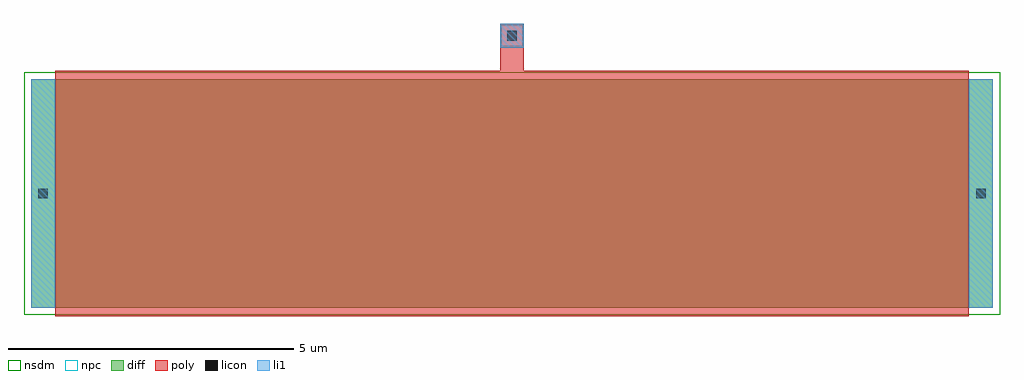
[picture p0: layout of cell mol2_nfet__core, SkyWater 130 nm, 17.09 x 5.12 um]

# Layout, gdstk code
import gdstk
lib = gdstk.Library(unit=1e-6, precision=1e-09)
def R(c, l, rs):  # rectangles x0, y0, x1, y1
    for r in rs: c.add(gdstk.rectangle(r[:2], r[2:], *l))
diff = (65, 20)
poly = (66, 20)
licon = (66, 44)
li1 = (67, 20)
nsdm = (93, 44)
npc = (95, 20)

mol2_nfet__core = lib.new_cell('mol2_nfet__core')
R(mol2_nfet__core, diff, [(0,0,16.84,4)])
R(mol2_nfet__core, poly, [(0.42,-0.15,16.42,4), (0.42,4,16.42,4.15), (0.42,4,16.42,4.15), (8.21,4.15,8.63,4.97)])
R(mol2_nfet__core, licon, [(0.125,1.915,0.295,2.085), (16.545,1.915,16.715,2.085), (8.335,4.675,8.505,4.845)])
R(mol2_nfet__core, li1, [(0,0,0.42,4), (16.42,0,16.84,4), (8.21,4.55,8.63,4.97)])
R(mol2_nfet__core, nsdm, [(-0.125,-0.125,16.965,4.125)])
R(mol2_nfet__core, npc, [(8.235,4.575,8.605,4.945)])

lib.write_gds('mol2_nfet__core.gds')
